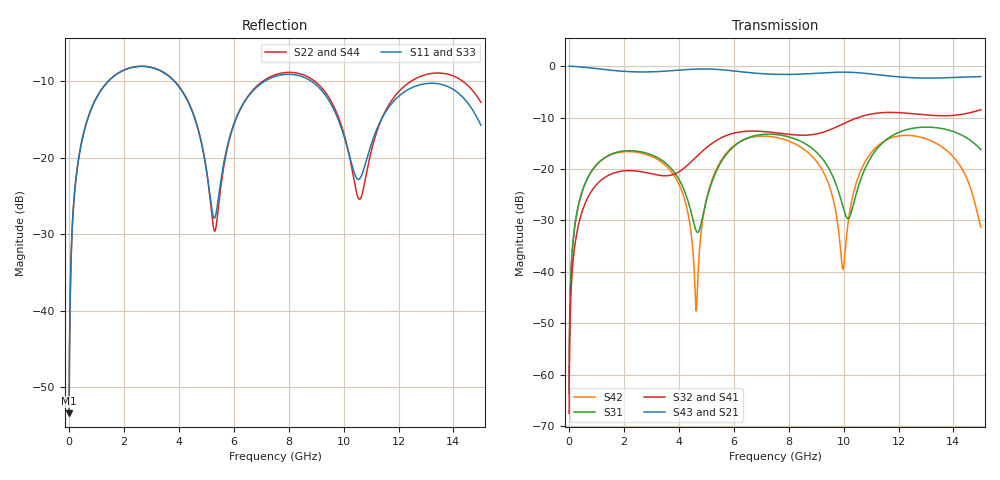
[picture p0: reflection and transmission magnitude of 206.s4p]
! Created with skrf 1.8.0 (http://scikit-rf.org).
# GHz S RI R 50.0
!freq ReS11 ImS11 ReS12 ImS12 ReS13 ImS13
! ReS14 ImS14
! ReS21 ImS21 ReS22 ImS22 ReS23 ImS23
! ReS24 ImS24
! ReS31 ImS31 ReS32 ImS32 ReS33 ImS33
! ReS34 ImS34
! ReS41 ImS41 ReS42 ImS42 ReS43 ImS43
! ReS44 ImS44
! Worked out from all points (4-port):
!   2499 points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, 5 MHz to 15 GHz, reference 50 ohm
!   strongest paths, dB at 5 MHz, 3.476 GHz, 7.19 GHz, 11.1 GHz, 15 GHz:
!     S43: 0.0, -1.0, -1.5, -1.6, -2.0
!     S21: 0.0, -1.0, -1.5, -1.6, -2.1
!     S32: -67.5, -21.3, -12.8, -9.2, -8.5
!     S41: -67.5, -21.3, -12.8, -9.2, -8.5
!     S31: -63.6, -18.7, -13.2, -16.9, -16.2
!     S42: -63.6, -19.1, -13.6, -16.3, -31.3
!   lowest |S11| = -53.4 dB at 5 MHz (marker M1), VSWR 1.00, Z = 50.2 + j0.13 ohm
!   |S11| at or under -10 dB: start of sweep to 1.432 GHz; 3.836 GHz to 7.126 GHz (3.291 GHz wide, 60 % of centre); 8.828 GHz to end of sweep
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0.005  0.0017 0.00129  0.9983 -0.0033  8.49e-05 0.000657  -8.25e-05 -0.000415
       0.9983 -0.0033  0.0017 0.00129  -8.25e-05 -0.000415  8.48e-05 0.000657
       8.49e-05 0.000657  -8.25e-05 -0.000415  0.0017 0.00129  0.9983 -0.0033
       -8.25e-05 -0.000415  8.48e-05 0.000657  0.9983 -0.0033  0.0017 0.00129
1.619545  0.2938 0.1698  0.4958 -0.7594  0.1339 0.0476  -0.0911 0.00214
          0.4958 -0.7594  0.2956 0.1683  -0.0911 0.00217  0.129 0.0553
          0.1339 0.0476  -0.0911 0.00217  0.2937 0.1697  0.4958 -0.7594
          -0.0911 0.00214  0.129 0.0553  0.4958 -0.7594  0.2956 0.1683
4.63318  0.0945 -0.1393  -0.8307 -0.4298  -0.0215 -0.0129  -0.0566 0.1182
         -0.8307 -0.4298  0.0888 -0.1456  -0.0562 0.1184  -0.0039 -0.00149
         -0.0215 -0.0129  -0.0562 0.1184  0.0946 -0.1383  -0.8308 -0.4298
         -0.0566 0.1182  -0.0039 -0.00149  -0.8308 -0.4298  0.0879 -0.1451
8.209671  0.3471 -0.0377  0.00211 0.8313  0.1675 -0.1037  0.2015 -0.073
          0.00211 0.8313  0.3567 -0.0491  0.2015 -0.0741  0.1665 -0.0594
          0.1675 -0.1037  0.2015 -0.0741  0.3458 -0.0366  0.00119 0.8318
          0.2015 -0.073  0.1665 -0.0594  0.00119 0.8318  0.3556 -0.049
9.972905  0.1056 -0.1012  0.7472 0.4516  -0.0319 -0.0293  0.1348 -0.2383
          0.7472 0.4516  0.0934 -0.1197  0.1329 -0.2393  -0.0101 -0.00313
          -0.0319 -0.0293  0.1329 -0.2393  0.1072 -0.0971  0.7471 0.4526
          0.1348 -0.2383  -0.0101 -0.00313  0.7471 0.4526  0.0893 -0.1187
10.9233  0.093 0.0577  0.8423 -0.0413  0.0504 0.1093  -0.0362 -0.3373
         0.8423 -0.0413  0.0738 0.0596  -0.0387 -0.3365  0.0473 0.126
         0.0504 0.1093  -0.0387 -0.3365  0.0974 0.0598  0.8423 -0.0398
         -0.0362 -0.3373  0.0473 0.126  0.8423 -0.0398  0.0692 0.0631
15  0.1463 -0.0722  -0.5422 -0.5734  -0.0678 -0.1386  -0.265 0.2685
    -0.5422 -0.5734  0.1626 -0.163  -0.2623 0.2706  0.0272 0.00217
    -0.0678 -0.1386  -0.2623 0.2706  0.1452 -0.0678  -0.5397 -0.577
    -0.265 0.2685  0.0272 0.00217  -0.5397 -0.577  0.1599 -0.1591
